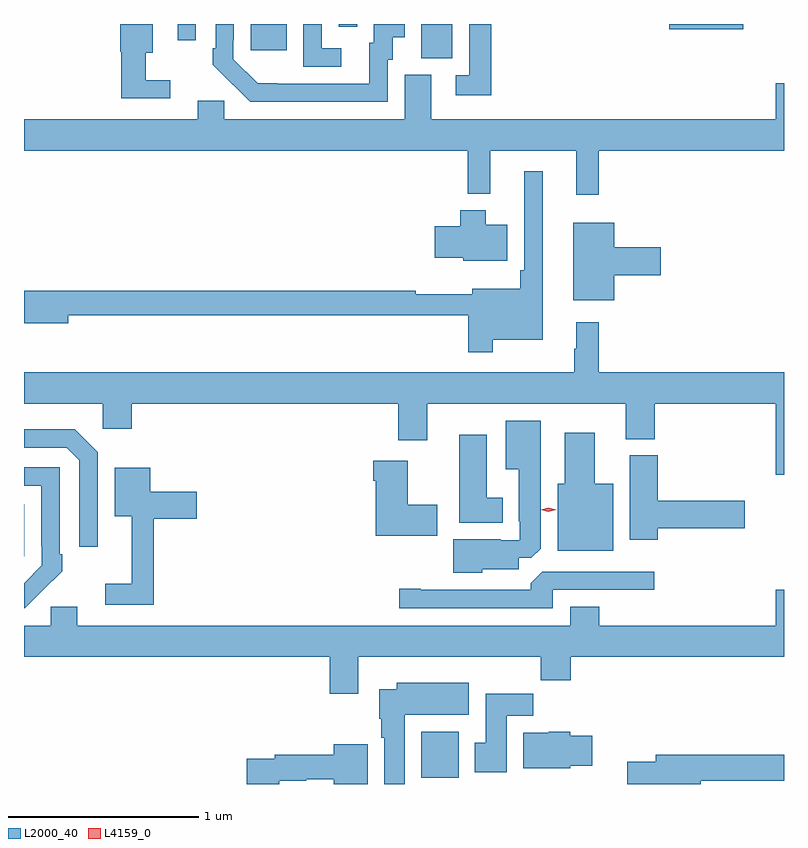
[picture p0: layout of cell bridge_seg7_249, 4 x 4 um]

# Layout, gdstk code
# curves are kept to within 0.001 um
import gdstk
lib = gdstk.Library(unit=1e-6, precision=1e-09)
def R(c, l, rs):  # rectangles x0, y0, x1, y1
    for r in rs: c.add(gdstk.rectangle(r[:2], r[2:], *l))
def P(c, l, *ps):  # polygons
    for p in ps: c.add(gdstk.Polygon(p, *l))
L2000_40 = (2000, 40)
L4159_0 = (4159, 0)

bridge_seg7_249 = lib.new_cell('bridge_seg7_249')
R(bridge_seg7_249, L2000_40, [(175.13,1039.94,175.327,1040.182), (173.039,1041.105,173.041,1041.379), (175.13,1043.725,175.294,1043.906), (174.233,1043.769,174.421,1043.906), (173.847,1043.82,173.943,1043.906), (176.436,1043.878,176.824,1043.906), (174.696,1043.892,174.792,1043.906)])
P(bridge_seg7_249, L2000_40, [(173.809,1043.611),(173.68,1043.611),(173.68,1043.756),(173.716,1043.756),(173.716,1043.906),(173.546,1043.906),(173.546,1043.76),(173.551,1043.76),(173.551,1043.514),(173.809,1043.514)],
  [(174.709,1043.778),(174.606,1043.778),(174.606,1043.906),(174.51,1043.906),(174.51,1043.682),(174.709,1043.682)],
  [(174.954,1043.718),(174.979,1043.718),(174.979,1043.837),(175.042,1043.837),(175.042,1043.906),(174.881,1043.906),(174.881,1043.808),(174.857,1043.808),(174.857,1043.592),(174.27,1043.593),(174.141,1043.721),(174.141,1043.821),(174.144,1043.821),(174.144,1043.906),(174.048,1043.906),(174.048,1043.779),(174.033,1043.779),(174.033,1043.691),(174.23,1043.496),(174.954,1043.496)],
  [(175.499,1043.906),(175.383,1043.906),(175.383,1043.637),(175.311,1043.637),(175.311,1043.532),(175.499,1043.532)],
  [(176.063,1043.24),(177.039,1043.24),(177.039,1043.593),(176.996,1043.593),(176.996,1043.404),(175.183,1043.404),(175.183,1043.64),(175.043,1043.64),(175.043,1043.404),(174.093,1043.404),(174.093,1043.502),(173.954,1043.502),(173.954,1043.404),(173.039,1043.404),(173.039,1043.24),(175.375,1043.24),(175.375,1043.012),(175.493,1043.012),(175.493,1043.24),(175.946,1043.24),(175.946,1043.007),(176.063,1043.007)],
  [(175.507,1042.244),(175.768,1042.244),(175.768,1043.131),(175.671,1043.131),(175.671,1042.609),(175.651,1042.609),(175.651,1042.513),(175.397,1042.513),(175.397,1042.484),(175.101,1042.484),(175.101,1042.502),(173.039,1042.502),(173.039,1042.331),(173.272,1042.331),(173.272,1042.374),(175.378,1042.374),(175.378,1042.179),(175.507,1042.179)],
  [(175.582,1042.849),(175.468,1042.849),(175.468,1042.927),(175.334,1042.927),(175.334,1042.842),(175.2,1042.842),(175.2,1042.676),(175.35,1042.676),(175.35,1042.661),(175.582,1042.661)],
  [(176.146,1042.583),(176.389,1042.583),(176.389,1042.73),(176.146,1042.73),(176.146,1042.861),(175.931,1042.861),(175.931,1042.451),(176.146,1042.451)],
  [(177.039,1042.072),(176.063,1042.072),(176.063,1042.336),(175.946,1042.336),(175.946,1042.196),(175.935,1042.196),(175.935,1042.072),(173.039,1042.072),(173.039,1041.908),(173.454,1041.908),(173.454,1041.777),(173.606,1041.777),(173.606,1041.908),(175.01,1041.908),(175.01,1041.714),(175.162,1041.714),(175.162,1041.908),(176.207,1041.908),(176.207,1041.721),(176.36,1041.721),(176.36,1041.908),(176.996,1041.908),(176.996,1041.534),(177.039,1041.534)],
  [(175.452,1041.035),(175.642,1041.035),(175.642,1041.096),(175.71,1041.096),(175.759,1041.145),(175.759,1041.817),(175.574,1041.817),(175.574,1041.563),(175.643,1041.563),(175.643,1041.289),(175.647,1041.289),(175.647,1041.189),(175.547,1041.189),(175.547,1041.193),(175.298,1041.193),(175.298,1041.017),(175.452,1041.017)],
  [(173.427,1041.651),(173.306,1041.772),(173.039,1041.772),(173.039,1041.675),(173.265,1041.675),(173.331,1041.609),(173.331,1041.156),(173.427,1041.156)],
  [(176.14,1041.487),(176.044,1041.487),(176.044,1041.754),(175.886,1041.754),(175.886,1041.487),(175.847,1041.487),(175.847,1041.134),(176.14,1041.134)],
  [(175.558,1041.412),(175.474,1041.412),(175.474,1041.745),(175.331,1041.745),(175.331,1041.281),(175.558,1041.281)],
  [(176.375,1041.251),(176.833,1041.251),(176.833,1041.398),(176.375,1041.398),(176.375,1041.636),(176.228,1041.636),(176.228,1041.192),(176.375,1041.192)],
  [(175.213,1041.375),(175.06,1041.375),(175.06,1041.607),(174.878,1041.607),(174.878,1041.503),(174.89,1041.503),(174.89,1041.212),(175.213,1041.212)],
  [(173.135,1040.923),(173.136,1040.922),(173.241,1041.027),(173.241,1041.115),(173.226,1041.115),(173.226,1041.573),(173.039,1041.573),(173.039,1041.477),(173.13,1041.477),(173.13,1041.157),(173.133,1041.157),(173.133,1041.057),(173.039,1040.963),(173.039,1040.832),(173.044,1040.832)],
  [(173.723,1041.302),(173.947,1041.302),(173.947,1041.444),(173.704,1041.444),(173.704,1041.571),(173.516,1041.571),(173.516,1041.314),(173.606,1041.314),(173.606,1040.959),(173.466,1040.959),(173.466,1040.85),(173.723,1040.85)],
  [(175.821,1040.928),(176.356,1040.928),(176.356,1041.024),(175.767,1041.024),(175.706,1040.962),(175.706,1040.928),(175.126,1040.928),(175.126,1040.933),(175.014,1040.933),(175.014,1040.832),(175.821,1040.832)],
  [(174.799,1040.576),(175.759,1040.576),(175.759,1040.452),(175.916,1040.452),(175.916,1040.576),(177.039,1040.576),(177.039,1040.929),(176.996,1040.929),(176.996,1040.74),(176.066,1040.74),(176.066,1040.839),(175.913,1040.839),(175.913,1040.74),(173.32,1040.74),(173.32,1040.838),(173.181,1040.838),(173.181,1040.74),(173.039,1040.74),(173.039,1040.576),(174.647,1040.576),(174.647,1040.382),(174.799,1040.382)],
  [(175.042,1040.27),(175.381,1040.27),(175.381,1040.44),(175.001,1040.44),(175.001,1040.404),(174.908,1040.404),(174.908,1040.25),(174.92,1040.25),(174.92,1040.15),(174.935,1040.15),(174.935,1039.906),(175.042,1039.906)],
  [(175.579,1040.264),(175.718,1040.264),(175.718,1040.382),(175.469,1040.382),(175.469,1040.124),(175.412,1040.124),(175.412,1039.968),(175.579,1039.968)],
  [(175.914,1040.003),(176.029,1040.003),(176.029,1040.161),(175.914,1040.161),(175.914,1040.182),(175.8,1040.182),(175.8,1040.176),(175.667,1040.176),(175.667,1039.988),(175.914,1039.988)],
  [(174.382,1039.924),(174.525,1039.924),(174.525,1039.932),(174.668,1039.932),(174.668,1039.906),(174.847,1039.906),(174.847,1040.116),(174.668,1040.116),(174.668,1040.06),(174.358,1040.06),(174.358,1040.04),(174.212,1040.04),(174.212,1039.906),(174.382,1039.906)],
  [(176.602,1039.924),(177.039,1039.924),(177.039,1040.06),(176.363,1040.06),(176.363,1040.024),(176.214,1040.024),(176.214,1039.906),(176.602,1039.906)])
P(bridge_seg7_249, L4159_0, [(175.799,1041.34),(175.758,1041.35),(175.758,1041.35),(175.758,1041.35),(175.799,1041.36),(175.84,1041.35),(175.84,1041.35),(175.84,1041.35)])

lib.write_gds('bridge_seg7_249.gds')
